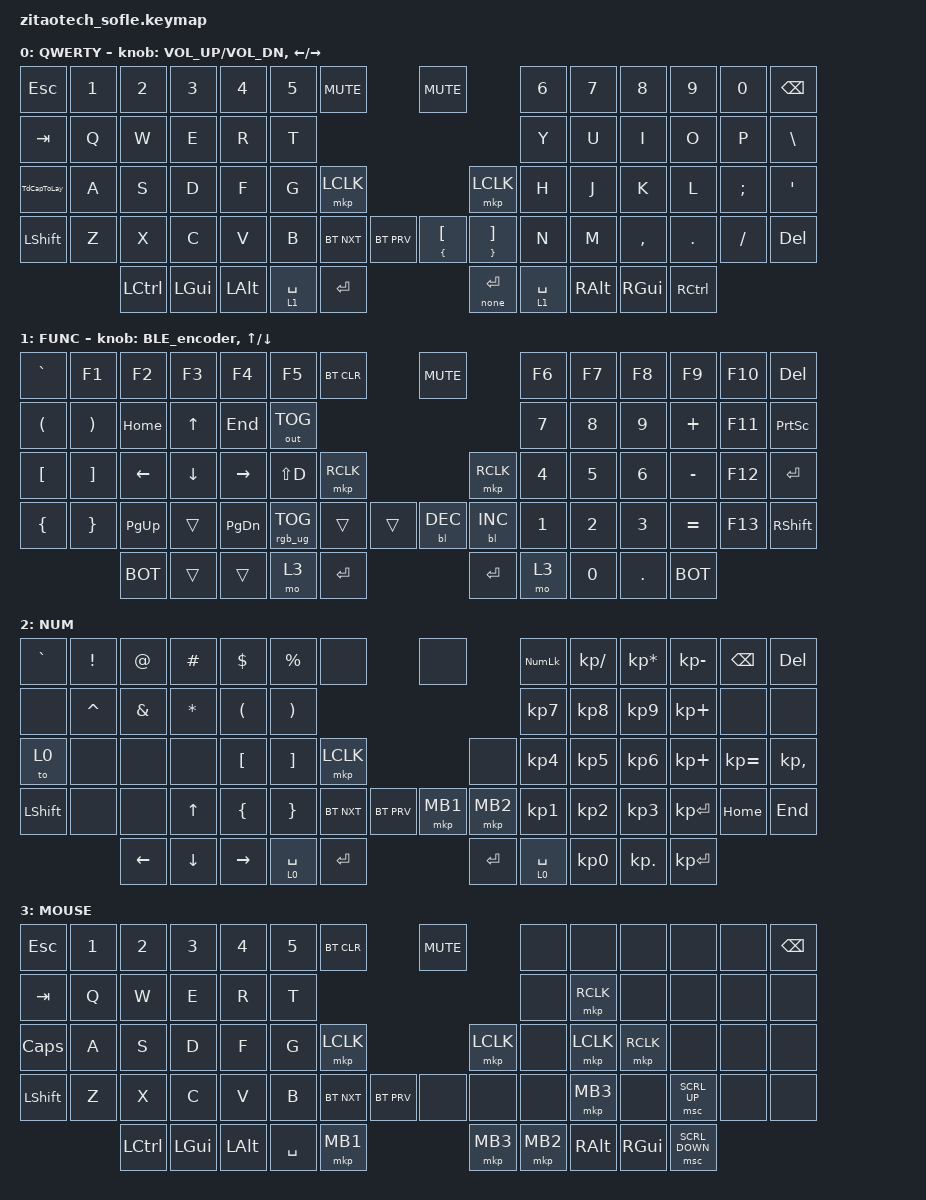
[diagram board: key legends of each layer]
/*
 * Copyright (c) 2025 ZitaoTech
 *
 * SPDX-License-Identifier: MIT
 */

#include <behaviors.dtsi>
#include <dt-bindings/zmk/keys.h>
#include <dt-bindings/zmk/bt.h>
#include <dt-bindings/zmk/outputs.h>
#include <dt-bindings/zmk/mouse.h>
#include <dt-bindings/zmk/backlight.h>
#include <dt-bindings/zmk/ext_power.h>
#include <dt-bindings/zmk/rgb.h>

#define FUNC 1
#define NUM 2
#define BOT bootloader

&lt {
    tapping-term-ms = <280>;
};

/ {
    input_processors {

        zip_temp_layer: zip_temp_layer {
            compatible = "zmk,input-processor-temp-layer";
            #input-processor-cells = <2>;
        };

        ip_behaviors0: ip_behaviors0 {
            compatible = "zmk,input-processor-behaviors";
            #input-processor-cells = <0>;
            type = <INPUT_EV_KEY>;
            codes = <INPUT_BTN_0>;
            bindings = <&kp RIGHT>;
        };
        ip_behaviors1: ip_behaviors1 {
            compatible = "zmk,input-processor-behaviors";
            #input-processor-cells = <0>;
            type = <INPUT_EV_KEY>;
            codes = <INPUT_BTN_1>;
            bindings = <&kp LEFT>;
        };
        ip_behaviors2: ip_behaviors2 {
            compatible = "zmk,input-processor-behaviors";
            #input-processor-cells = <0>;
            type = <INPUT_EV_KEY>;
            codes = <INPUT_BTN_2>;
            bindings = <&kp DOWN>;
        };
        ip_behaviors3: ip_behaviors3 {
            compatible = "zmk,input-processor-behaviors";
            #input-processor-cells = <0>;
            type = <INPUT_EV_KEY>;
            codes = <INPUT_BTN_3>;
            bindings = <&kp UP>;
        };
    };
};

/ {
    behaviors {
        td0: tap_dance_0 {
            compatible = "zmk,behavior-tap-dance";
            #binding-cells = <0>;
            tapping-term-ms = <400>;
            bindings = <&mkp LCLK>, <&bt BT_CLR>;
        };

        TdCapToLay: tap_dance_caps_to_layer {
            compatible = "zmk,behavior-tap-dance";
            #binding-cells = <0>;
            tapping-term-ms = <400>;
            bindings = <&kp CAPS>, <&to NUM>;
        };
    };
    behaviors {
        hm: homerow_mods {
            compatible = "zmk,behavior-hold-tap";
            #binding-cells = <2>;
            tapping-term-ms = <500>;
            bindings = <&kp &kp>;
        };
    };

    behaviors {
         sp_sc: behavior_spacescroll {
           compatible = "zmk,behavior-hold-tap";
           #binding-cells = <2>;
           flavor = "tap-preferred";     /* 单击优先 */
           tapping-term-ms = <280>;       /* 长按阈值 */
           bindings = <&none>, <&kp>;     /* hold=none, tap=key */
        };
    };

    behaviors {
        hd1: hold_tap_middle_enter {
            compatible = "zmk,behavior-hold-tap";
            #binding-cells = <2>;
            flavor = "tap-preferred";
            tapping-term-ms = <280>;
            bindings = <&kp &mkp>;
        };
    };

    behaviors {
        BLE_encoder: BLE_encoder {
            compatible = "zmk,behavior-sensor-rotate";
            #sensor-binding-cells = <0>;
            bindings = <&bt BT_NXT>, <&bt BT_PRV>;
        };
    };

    keymap {
        compatible = "zmk,keymap";

         default_layer {
            display-name = "QWERTY";
           bindings = <
&kp ESC   &kp N1   &kp N2     &kp N3   &kp N4    &kp N5    &kp C_MUTE                   &kp C_MUTE                     &kp N6      &kp N7      &kp N8    &kp N9    &kp N0   &kp BSPC            
&kp TAB   &kp Q    &kp W      &kp E    &kp R     &kp T                                                                 &kp Y       &kp U       &kp I     &kp O     &kp P    &kp BSLH
&TdCapToLay &kp A  &kp S      &kp D    &kp F     &kp G     &mkp LCLK                    &mkp LCLK                      &kp H       &kp J       &kp K     &kp L     &kp SEMI &kp SQT
&kp LSHFT &kp Z    &kp X      &kp C    &kp V     &kp B     &bt BT_NXT &bt BT_PRV        &mt  LBRC LBKT  &mt RBRC RBKT  &kp N       &kp M       &kp COMMA &kp DOT   &kp FSLH &kp DEL
                   &kp LCTRL  &kp LGUI &kp LALT  &lt 1 SPACE &kp ENTER                                  &sp_sc 0 ENTER &lt 1 SPACE &kp RALT   &kp RGUI     &kp RCTRL
           >;
           sensor-bindings = <&inc_dec_kp C_VOL_UP C_VOL_DN &inc_dec_kp LEFT RIGHT>;
        };


        lower_layer {
            display-name = "FUNC";
            bindings = <
&kp GRAVE   &kp F1    &kp F2     &kp F3      &kp F4     &kp F5           &bt BT_CLR                   &kp C_MUTE             &kp F6     &kp F7    &kp F8    &kp F9     &kp F10   &kp DEL
&kp LPAR    &kp RPAR  &kp HOME   &kp UP      &kp END    &out OUT_TOG                                                         &kp N7     &kp N8    &kp N9    &kp PLUS   &kp F11   &kp PSCRN
&kp LBKT    &kp RBKT  &kp LEFT   &kp DOWN    &kp RIGHT  &kp LS(D)        &mkp RCLK                    &mkp RCLK              &kp N4     &kp N5    &kp N6    &kp MINUS  &kp F12   &kp ENTER
&kp LBRC    &kp RBRC  &kp PG_UP  &trans      &kp PG_DN  &rgb_ug RGB_TOG  &trans     &trans            &bl BL_DEC  &bl BL_INC &kp N1     &kp N2    &kp N3    &kp EQUAL  &kp F13   &kp RSHFT
                      &BOT       &trans      &trans     &mo 3            &kp ENTER                                            &kp ENTER  &mo 3     &kp N0    &kp DOT    &BOT
            >;
            sensor-bindings = <&BLE_encoder &inc_dec_kp UP DOWN>;
        };
        raise_layer {
            display-name = "NUM";
            bindings = <
&kp GRAVE  &kp EXCL   &kp AT     &kp HASH  &kp DLLR  &kp PRCNT  &none                  &none          &kp KP_NUM  &kp KP_SLASH  &kp KP_ASTERISK  &kp KP_MINUS  &kp BSPC      &kp DEL
&none      &kp CARET  &kp AMPS   &kp STAR  &kp LPAR  &kp RPAR                                         &kp KP_N7   &kp KP_N8     &kp KP_N9        &kp KP_PLUS   &none         &none
&to 0      &none      &none      &none     &kp LBKT  &kp RBKT   &mkp LCLK              &none          &kp KP_N4   &kp KP_N5     &kp KP_N6        &kp KP_PLUS   &kp KP_EQUAL  &kp KP_COMMA
&kp LSHFT  &none      &none      &kp UP    &kp LBRC  &kp RBRC   &bt BT_NXT &bt BT_PRV   &mkp MB1  &mkp MB2  &kp KP_N1   &kp KP_N2     &kp KP_N3        &kp KP_ENTER  &kp HOME      &kp END
                      &kp LEFT   &kp DOWN  &kp RIGHT &lt 0 SPACE      &kp ENTER                              &kp ENTER  &lt 0 SPACE   &kp KP_N0        &kp KP_DOT    &kp KP_ENTER
            >;
        }; 
        MOUSE_layer {
            display-name = "MOUSE";
            bindings = <
&kp ESC   &kp N1    &kp N2     &kp N3   &kp N4   &kp N5     &bt BT_CLR                       &kp C_MUTE       &none      &none      &none   &none         &none  &kp BSPC            
&kp TAB   &kp Q     &kp W      &kp E    &kp R    &kp T                                                        &none      &mkp RCLK  &none   &none         &none  &none
&kp CAPS  &kp A     &kp S      &kp D    &kp F    &kp G      &mkp LCLK                        &mkp LCLK        &none      &mkp LCLK  &mkp RCLK &none         &none  &none
&kp LSHFT &kp Z     &kp X      &kp C    &kp V    &kp B      &bt BT_NXT       &bt BT_PRV      &none  &none     &none      &mkp MB3   &none   &msc SCRL_UP  &none  &none
                    &kp LCTRL  &kp LGUI &kp LALT &kp SPACE  &mkp MB1                                 &mkp MB3  &mkp MB2   &kp RALT   &kp RGUI &msc SCRL_DOWN
            >;
        };
    };
};
